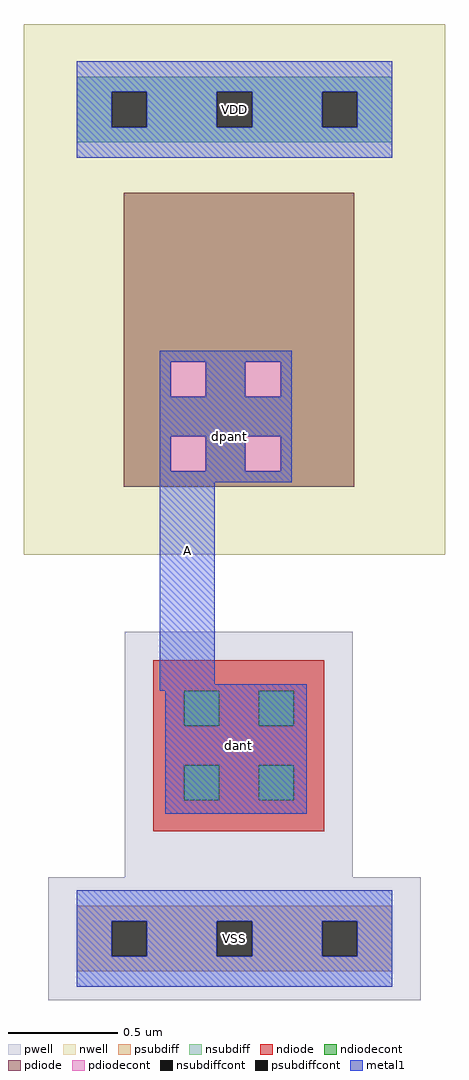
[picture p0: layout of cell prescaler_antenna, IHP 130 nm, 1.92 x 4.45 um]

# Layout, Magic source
magic
tech ihp-sg13cmos5l
magscale 1 2
<< nwell >>
rect -48 350 336 834
<< pwell >>
rect 44 56 252 280
rect -26 -56 314 56
<< psubdiff >>
rect 0 16 288 30
rect 0 -16 32 16
rect 64 -16 128 16
rect 160 -16 224 16
rect 256 -16 288 16
rect 0 -30 288 -16
<< nsubdiff >>
rect 0 772 288 786
rect 0 740 32 772
rect 64 740 128 772
rect 160 740 224 772
rect 256 740 288 772
rect 0 726 288 740
<< psubdiffcont >>
rect 32 -16 64 16
rect 128 -16 160 16
rect 224 -16 256 16
<< nsubdiffcont >>
rect 32 740 64 772
rect 128 740 160 772
rect 224 740 256 772
<< pdiode >>
rect 43 526 253 680
rect 43 494 86 526
rect 118 494 154 526
rect 186 494 253 526
rect 43 458 253 494
rect 43 426 86 458
rect 118 426 154 458
rect 186 426 253 458
rect 43 412 253 426
<< ndiode >>
rect 70 226 226 254
rect 70 194 98 226
rect 130 194 166 226
rect 198 194 226 226
rect 70 158 226 194
rect 70 126 98 158
rect 130 126 166 158
rect 198 126 226 158
rect 70 98 226 126
<< pdiodecont >>
rect 86 494 118 526
rect 154 494 186 526
rect 86 426 118 458
rect 154 426 186 458
<< ndiodecont >>
rect 98 194 130 226
rect 166 194 198 226
rect 98 126 130 158
rect 166 126 198 158
<< metal1 >>
rect 0 772 288 800
rect 0 740 32 772
rect 64 740 128 772
rect 160 740 224 772
rect 256 740 288 772
rect 0 712 288 740
rect 76 526 196 536
rect 76 494 86 526
rect 118 494 154 526
rect 186 494 196 526
rect 76 458 196 494
rect 76 426 86 458
rect 118 426 154 458
rect 186 426 196 458
rect 76 416 196 426
rect 76 232 126 416
rect 76 226 210 232
rect 81 114 210 226
rect 0 16 288 44
rect 0 -16 32 16
rect 64 -16 128 16
rect 160 -16 224 16
rect 256 -16 288 16
rect 0 -44 288 -16
<< labels >>
flabel metal1 s 76 226 126 482 0 FreeSans 800 0 0 0 A
port 2 nsew
flabel metal1 s 0 -44 288 44 0 FreeSans 400 0 0 0 VSS
port 3 nsew
flabel metal1 s 0 712 288 800 0 FreeSans 400 0 0 0 VDD
port 4 nsew
flabel comment s 139 458 139 458 0 FreeSans 400 0 0 0 dpant
flabel comment s 148 176 148 176 0 FreeSans 400 0 0 0 dant
<< properties >>
string FIXED_BBOX 0 0 288 756
<< end >>
